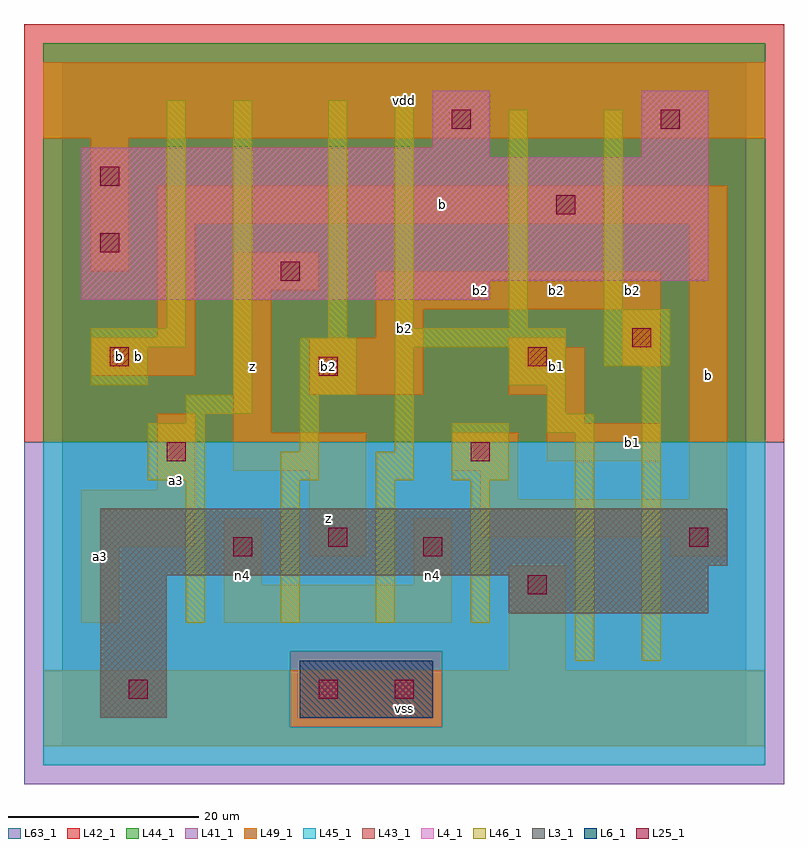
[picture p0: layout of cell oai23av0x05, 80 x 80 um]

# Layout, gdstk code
import gdstk
lib = gdstk.Library(unit=1e-6, precision=1e-09)
def R(c, l, rs):  # rectangles x0, y0, x1, y1
    for r in rs: c.add(gdstk.rectangle(r[:2], r[2:], *l))
def A(c, l, x, y, w, h, nx, ny, dx, dy):  # array of equal rectangles
    R(c, l, [(x+i*dx, y+j*dy, x+i*dx+w, y+j*dy+h) for i in range(nx) for j in range(ny)])
L3_1 = (3, 1)
L4_1 = (4, 1)
L6_1 = (6, 1)
L25_1 = (25, 1)
L41_1 = (41, 1)
L42_1 = (42, 1)
L43_1 = (43, 1)
L44_1 = (44, 1)
L45_1 = (45, 1)
L46_1 = (46, 1)
L49_1 = (49, 1)
L63_1 = (63, 1)

oai23av0x05 = lib.new_cell('oai23av0x05')
R(oai23av0x05, L3_1, [(4,3,11,18), (47,14,68,18), (4,18,68,19), (4,19,70,25)])
R(oai23av0x05, L4_1, [(2,47,45,49), (2,49,68,62), (2,62,45,63), (61,62,68,69), (39,63,45,69)])
R(oai23av0x05, L6_1, [(25,3,39,9), (25,3,39,9)])
R(oai23av0x05, L25_1, [(7,5,9,7), (27,5,29,7), (35,5,37,7), (49,16,51,18), (18,20,20,22), (38,20,40,22), (28,21,30,23), (66,21,68,23), (11,30,13,32), (43,30,45,32), (27,39,29,41), (5,40,7,42), (49,40,51,42), (60,42,62,44), (23,49,25,51), (4,52,6,54), (52,56,54,58), (4,59,6,61), (41,65,43,67), (63,65,65,67)])
R(oai23av0x05, L41_1, [(-4,-4,76,32)])
R(oai23av0x05, L42_1, [(-4,32,76,76)])
R(oai23av0x05, L43_1, [(4,3,11,18), (25,3,39,9), (47,14,68,18), (4,18,68,19), (4,19,70,25), (2,47,45,49), (2,49,68,62), (2,62,45,63), (61,62,68,69), (39,63,45,69)])
R(oai23av0x05, L44_1, [(24,2,40,10), (-2,32,74,74)])
R(oai23av0x05, L45_1, [(-2,-2,74,2), (-2,2,24,10), (40,2,74,10), (-2,10,74,32)])
A(oai23av0x05, L46_1, 13, 13, 2, 15, 4, 1, 10, 0)
R(oai23av0x05, L46_1, [(54,9,56,33), (61,9,63,40), (9,28,15,34), (23,28,27,31), (33,28,37,31), (41,28,47,34), (25,31,27,37), (35,31,37,42), (51,33,56,35), (13,34,15,35), (13,35,20,37), (51,35,53,38), (18,37,20,68), (25,37,31,43), (3,38,9,42), (47,38,53,42), (57,40,64,46), (3,42,13,44), (35,42,53,44), (28,43,30,68), (11,44,13,68), (35,44,37,68), (47,44,49,67), (57,46,59,67)])
R(oai23av0x05, L49_1, [(-2,0,74,8), (47,8,53,19), (2,13,6,21), (17,13,41,17), (17,17,21,24), (37,17,41,24), (26,20,32,29), (64,20,70,22), (2,21,14,27), (44,22,70,26), (44,26,48,29), (66,26,70,55), (10,27,14,35), (18,29,32,33), (41,29,48,33), (51,30,63,34), (18,33,22,48), (51,34,55,37), (26,37,38,43), (47,37,55,42), (3,39,14,43), (59,40,63,46), (47,42,53,43), (10,43,14,55), (33,43,38,46), (33,46,63,50), (18,48,27,52), (3,50,7,64), (10,55,70,59), (-2,64,74,72)])
R(oai23av0x05, L63_1, [(0,0,72,72)])
oai23av0x05.add(gdstk.Label('b', (6,41), layer=49, texttype=1))
oai23av0x05.add(gdstk.Label('a3', (4,20), layer=49, texttype=1))
oai23av0x05.add(gdstk.Label('n4', (19,18), layer=49, texttype=1))
oai23av0x05.add(gdstk.Label('a3', (12,28), layer=49, texttype=1))
oai23av0x05.add(gdstk.Label('z', (20,40), layer=49, texttype=1))
oai23av0x05.add(gdstk.Label('b', (8,41), layer=49, texttype=1))
oai23av0x05.add(gdstk.Label('vss', (36,4), layer=49, texttype=1))
oai23av0x05.add(gdstk.Label('n4', (39,18), layer=49, texttype=1))
oai23av0x05.add(gdstk.Label('z', (28,24), layer=49, texttype=1))
oai23av0x05.add(gdstk.Label('b2', (28,40), layer=49, texttype=1))
oai23av0x05.add(gdstk.Label('b2', (36,44), layer=49, texttype=1))
oai23av0x05.add(gdstk.Label('vdd', (36,68), layer=49, texttype=1))
oai23av0x05.add(gdstk.Label('b1', (52,40), layer=49, texttype=1))
oai23av0x05.add(gdstk.Label('b2', (44,48), layer=49, texttype=1))
oai23av0x05.add(gdstk.Label('b2', (52,48), layer=49, texttype=1))
oai23av0x05.add(gdstk.Label('b1', (60,32), layer=49, texttype=1))
oai23av0x05.add(gdstk.Label('b2', (60,48), layer=49, texttype=1))
oai23av0x05.add(gdstk.Label('b', (40,57), layer=49, texttype=1))
oai23av0x05.add(gdstk.Label('b', (68,39), layer=49, texttype=1))

lib.write_gds('oai23av0x05.gds')
